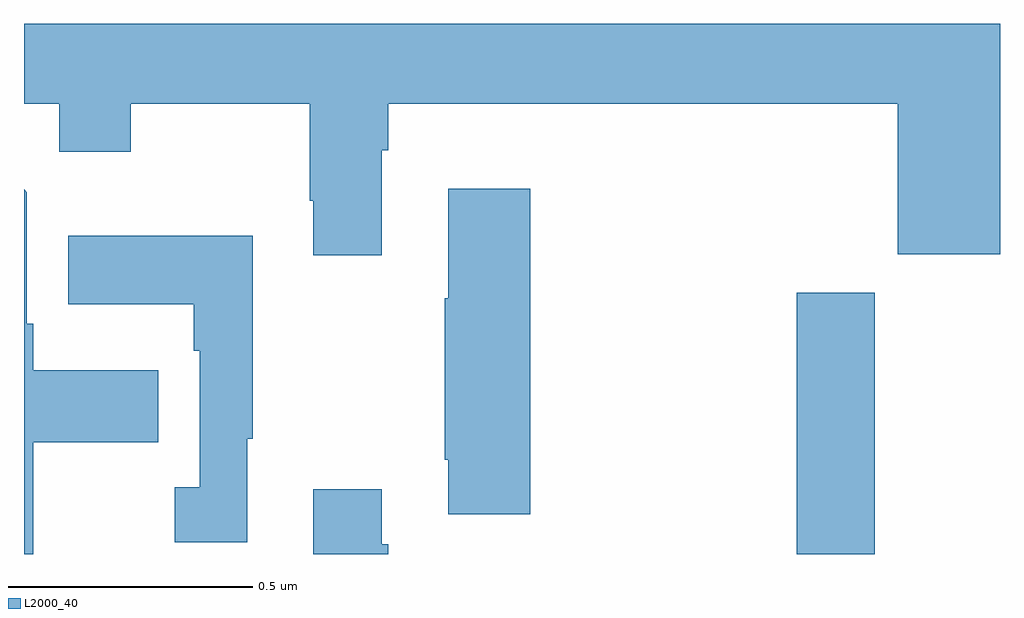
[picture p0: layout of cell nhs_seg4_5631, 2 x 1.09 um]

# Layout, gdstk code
import gdstk
lib = gdstk.Library(unit=1e-6, precision=1e-09)
def R(c, l, rs):  # rectangles x0, y0, x1, y1
    for r in rs: c.add(gdstk.rectangle(r[:2], r[2:], *l))
def P(c, l, *ps):  # polygons
    for p in ps: c.add(gdstk.Polygon(p, *l))
L2000_40 = (2000, 40)

nhs_seg4_5631 = lib.new_cell('nhs_seg4_5631')
R(nhs_seg4_5631, L2000_40, [(181.583,791.9,181.743,792.436)])
P(nhs_seg4_5631, L2000_40, [(180,792.824),(180.072,792.824),(180.072,792.725),(180.219,792.725),(180.219,792.824),(180.586,792.824),(180.586,792.625),(180.593,792.625),(180.593,792.513),(180.733,792.513),(180.733,792.728),(180.746,792.728),(180.746,792.824),(181.79,792.824),(181.79,792.515),(182,792.515),(182,792.988),(180,792.988)],
  [(181.037,792.649),(180.869,792.649),(180.869,792.425),(180.862,792.425),(180.862,792.094),(180.869,792.094),(180.869,791.982),(181.037,791.982)],
  [(180.019,792.13),(180.275,792.13),(180.275,792.277),(180.019,792.277),(180.019,792.373),(180.006,792.373),(180.006,792.642),(180,792.648),(180,791.9),(180.019,791.9)],
  [(180.457,792.137),(180.469,792.137),(180.469,792.553),(180.091,792.553),(180.091,792.413),(180.348,792.413),(180.348,792.317),(180.36,792.317),(180.36,792.038),(180.309,792.038),(180.309,791.925),(180.457,791.925)],
  [(180.746,791.921),(180.733,791.921),(180.733,792.034),(180.593,792.034),(180.593,791.9),(180.746,791.9)])

lib.write_gds('nhs_seg4_5631.gds')
